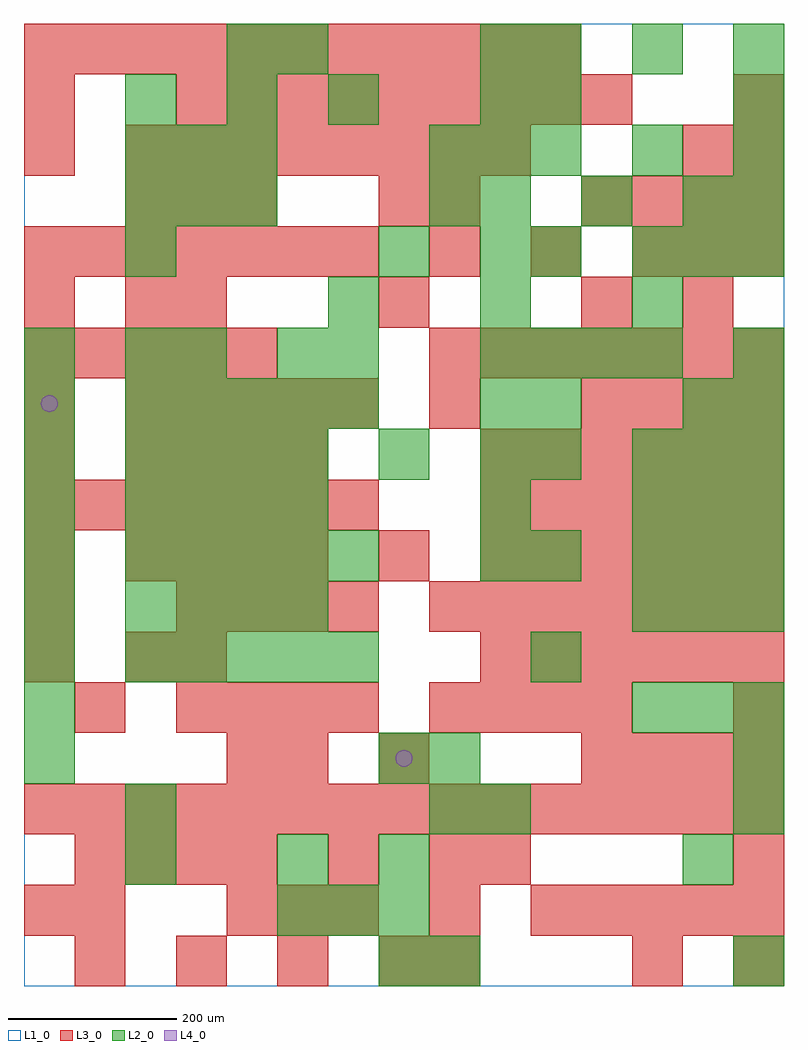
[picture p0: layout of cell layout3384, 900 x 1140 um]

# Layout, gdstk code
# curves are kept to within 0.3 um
import gdstk
lib = gdstk.Library(unit=1e-6, precision=1e-09)
def R(c, l, rs):  # rectangles x0, y0, x1, y1
    for r in rs: c.add(gdstk.rectangle(r[:2], r[2:], *l))
def A(c, l, x, y, w, h, nx, ny, dx, dy):  # array of equal rectangles
    R(c, l, [(x+i*dx, y+j*dy, x+i*dx+w, y+j*dy+h) for i in range(nx) for j in range(ny)])
def P(c, l, *ps):  # polygons
    for p in ps: c.add(gdstk.Polygon(p, *l))
L1_0 = (1, 0)
L2_0 = (2, 0)
L3_0 = (3, 0)
L4_0 = (4, 0)

layout3384 = lib.new_cell('layout3384')
R(layout3384, L1_0, [(0,0,900,1140)])
A(layout3384, L2_0, 420, 0, 60, 60, 1, 3, 0, 120)
A(layout3384, L2_0, 300, 60, 60, 60, 3, 1, 60, 0)
A(layout3384, L2_0, 0, 240, 60, 60, 1, 9, 0, 60)
A(layout3384, L2_0, 720, 300, 60, 60, 3, 2, 60, 120)
A(layout3384, L2_0, 120, 360, 60, 60, 5, 2, 60, 120)
A(layout3384, L2_0, 600, 360, 60, 60, 1, 3, 0, 120)
A(layout3384, L2_0, 120, 420, 60, 60, 4, 2, 60, 120)
A(layout3384, L2_0, 540, 480, 60, 60, 1, 4, 0, 60)
A(layout3384, L2_0, 720, 480, 60, 60, 3, 3, 60, 60)
A(layout3384, L2_0, 120, 600, 60, 60, 4, 1, 60, 0)
A(layout3384, L2_0, 120, 660, 60, 60, 5, 1, 60, 0)
A(layout3384, L2_0, 600, 660, 60, 60, 1, 3, 0, 180)
A(layout3384, L2_0, 540, 720, 60, 60, 4, 1, 60, 0)
A(layout3384, L2_0, 360, 780, 60, 60, 3, 1, 180, 0)
A(layout3384, L2_0, 720, 840, 60, 60, 3, 1, 60, 0)
A(layout3384, L2_0, 120, 900, 60, 60, 3, 2, 60, 60)
A(layout3384, L2_0, 540, 900, 60, 60, 3, 1, 120, 0)
A(layout3384, L2_0, 840, 900, 60, 60, 1, 3, 0, 60)
A(layout3384, L2_0, 480, 960, 60, 60, 3, 1, 60, 0)
A(layout3384, L2_0, 120, 1020, 60, 60, 3, 1, 120, 0)
A(layout3384, L2_0, 600, 1080, 60, 60, 3, 1, 120, 0)
R(layout3384, L2_0, [(480,0,540,60), (840,0,900,60), (120,120,180,180), (300,120,360,180), (780,120,840,180), (120,180,180,240), (480,180,540,240), (540,180,600,240), (840,180,900,240), (480,240,540,300), (840,240,900,300), (420,600,480,660), (780,660,840,720), (840,660,900,720), (120,720,180,780), (180,720,240,780), (300,720,360,780), (360,720,420,780), (840,720,900,780), (120,840,180,900), (420,840,480,900), (540,840,600,900), (480,900,540,960), (720,960,780,1020), (540,1020,600,1080), (240,1080,300,1140), (300,1080,360,1140), (540,1080,600,1140)])
A(layout3384, L3_0, 60, 0, 60, 60, 4, 1, 120, 0)
A(layout3384, L3_0, 480, 0, 60, 60, 1, 3, 0, 60)
A(layout3384, L3_0, 240, 60, 60, 60, 3, 1, 60, 0)
A(layout3384, L3_0, 600, 60, 60, 60, 5, 1, 60, 0)
A(layout3384, L3_0, 60, 120, 60, 60, 4, 1, 60, 0)
A(layout3384, L3_0, 0, 180, 60, 60, 15, 1, 60, 0)
A(layout3384, L3_0, 660, 240, 60, 60, 4, 2, 60, 420)
A(layout3384, L3_0, 180, 300, 60, 60, 4, 2, 60, 120)
A(layout3384, L3_0, 480, 300, 60, 60, 4, 1, 60, 0)
A(layout3384, L3_0, 0, 360, 60, 60, 1, 3, 0, 60)
A(layout3384, L3_0, 540, 360, 60, 60, 6, 2, 60, 120)
A(layout3384, L3_0, 480, 420, 60, 60, 7, 2, 60, 300)
A(layout3384, L3_0, 120, 480, 60, 60, 4, 2, 60, 120)
A(layout3384, L3_0, 0, 540, 60, 60, 7, 2, 60, 300)
A(layout3384, L3_0, 540, 540, 60, 60, 6, 2, 60, 60)
A(layout3384, L3_0, 120, 660, 60, 60, 5, 1, 60, 0)
A(layout3384, L3_0, 0, 720, 60, 60, 5, 1, 60, 0)
A(layout3384, L3_0, 180, 780, 60, 60, 3, 1, 240, 0)
A(layout3384, L3_0, 480, 840, 60, 60, 3, 1, 120, 0)
A(layout3384, L3_0, 120, 900, 60, 60, 3, 1, 60, 0)
A(layout3384, L3_0, 660, 900, 60, 60, 4, 1, 60, 0)
A(layout3384, L3_0, 120, 960, 60, 60, 8, 1, 60, 0)
A(layout3384, L3_0, 180, 1020, 60, 60, 9, 1, 60, 0)
A(layout3384, L3_0, 0, 1080, 60, 60, 11, 1, 60, 0)
R(layout3384, L3_0, [(720,0,780,60), (840,0,900,60), (0,60,60,120), (60,60,120,120), (360,120,420,180), (540,120,600,180), (840,120,900,180), (240,240,300,300), (300,240,360,300), (420,240,480,300), (60,300,120,360), (840,300,900,360), (120,360,180,420), (180,360,240,420), (420,480,480,540), (0,600,60,660), (0,660,60,720), (480,660,540,720), (0,780,60,840), (120,780,180,840), (780,780,840,840), (780,840,840,900), (840,840,900,900), (420,900,480,960), (480,900,540,960), (0,960,60,1020), (780,960,840,1020), (840,960,900,1020), (0,1020,60,1080), (840,1020,900,1080)])
P(layout3384, L4_0, [(40,690),(39.239,693.827),(37.071,697.071),(33.827,699.239),(30,700),(26.173,699.239),(22.929,697.071),(20.761,693.827),(20,690),(20.761,686.173),(22.929,682.929),(26.173,680.761),(30,680),(33.827,680.761),(37.071,682.929),(39.239,686.173)],
  [(460,270),(459.239,273.827),(457.071,277.071),(453.827,279.239),(450,280),(446.173,279.239),(442.929,277.071),(440.761,273.827),(440,270),(440.761,266.173),(442.929,262.929),(446.173,260.761),(450,260),(453.827,260.761),(457.071,262.929),(459.239,266.173)])

lib.write_gds('layout3384.gds')
